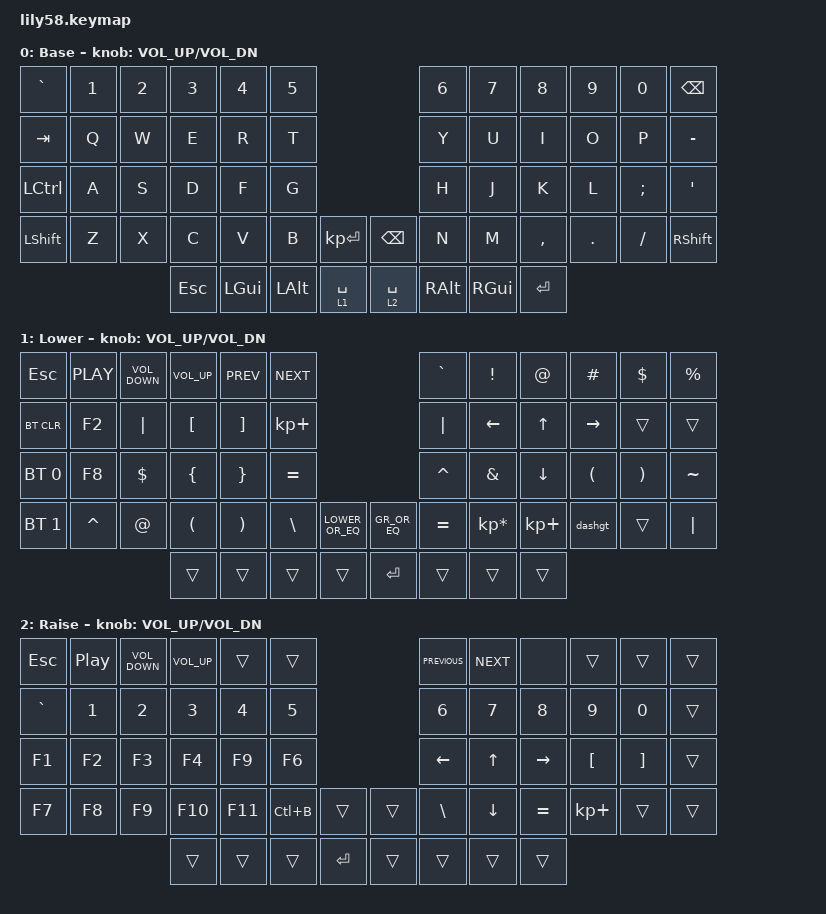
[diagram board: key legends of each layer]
/*
 * Copyright (c) 2020 The ZMK Contributors
 *
 * SPDX-License-Identifier: MIT
 */

#include <behaviors.dtsi>
#include <dt-bindings/zmk/bt.h>
#include <dt-bindings/zmk/keys.h>

/ {
    macros {
        GR_OR_EQ: GR_OR_EQ {
            compatible = "zmk,behavior-macro";
            #binding-cells = <0>;
            bindings = <&kp GREATER_THAN &kp EQUAL>, <&macro_tap>;

            label = "GR_OR_EQ";
        };

        LOWER_OR_EQ: LOWER_OR_EQ {
            compatible = "zmk,behavior-macro";
            #binding-cells = <0>;
            bindings = <&kp LT &kp EQUAL>, <&macro_tap>;

            label = "LOWER_OR_EQ";
        };

        dashgt: dashgt {
            compatible = "zmk,behavior-macro";
            #binding-cells = <0>;
            bindings = <&kp MINUS &kp GT>, <&macro_tap>;

            label = "DASHGT";
        };
    };

    keymap {
        compatible = "zmk,keymap";

        default_layer {
            // ------------------------------------------------------------------------------------------------------------
            // |  ESC  |  1  |  2  |  3   |  4   |  5   |                   |  6   |  7    |  8    |  9   |   0   |   `   |
            // |  TAB  |  Q  |  W  |  E   |  R   |  T   |                   |  Y   |  U    |  I    |  O   |   P   |   -   |
            // |  CTRL |  A  |  S  |  D   |  F   |  G   |                   |  H   |  J    |  K    |  L   |   ;   |   '   |
            // | SHIFT |  Z  |  X  |  C   |  V   |  B   |   "["  |  |  "]"  |  N   |  M    |  ,    |  .   |   /   | SHIFT |
            //                     | ALT  | GUI  | LOWER|  SPACE |  | ENTER | RAISE| BSPC  | GUI   |

            display-name = "Base";
            bindings = <
&kp GRAVE  &kp N1  &kp N2  &kp N3   &kp N4        &kp N5                                       &kp N6         &kp N7         &kp N8     &kp N9   &kp N0    &kp BACKSPACE
&kp TAB    &kp Q   &kp W   &kp E    &kp R         &kp T                                        &kp Y          &kp U          &kp I      &kp O    &kp P     &kp MINUS
&kp LCTRL  &kp A   &kp S   &kp D    &kp F         &kp G                                        &kp H          &kp J          &kp K      &kp L    &kp SEMI  &kp SQT
&kp LSHFT  &kp Z   &kp X   &kp C    &kp V         &kp B         &kp KP_ENTER    &kp BACKSPACE  &kp N          &kp M          &kp COMMA  &kp DOT  &kp FSLH  &kp RIGHT_SHIFT
                           &kp ESC  &kp LEFT_GUI  &kp LEFT_ALT  &lt 1 SPACE     &lt 2 SPACE    &kp RIGHT_ALT  &kp RIGHT_GUI  &kp ENTER
            >;

            sensor-bindings = <&inc_dec_kp C_VOL_UP C_VOL_DN>;
        };

        lower_layer {
            // ------------------------------------------------------------------------------------------------------------
            // | BTCLR | BT1 | BT2 |  BT3 |  BT4 |  BT5 |                   |      |       |       |      |       |       |
            // |  F1   |  F2 |  F3 |  F4  |  F5  |  F6  |                   |  F7  |  F8   |  F9   |  F10 |  F11  |  F12  |
            // |   `   |  !  |  @  |  #   |  $   |  %   |                   |  ^   |  &    |  *    |  (   |   )   |   ~   |
            // |       |     |     |      |      |      |        |  |       |      |  _    |  +    |  {   |   }   |  "|"  |
            //                     |      |      |      |        |  |       |      |       |       |

            display-name = "Lower";
            bindings = <
&kp ESC       &kp C_PLAY  &kp C_VOLUME_DOWN  &kp C_VOLUME_UP       &kp C_PREV             &kp C_NEXT                                &kp GRAVE  &kp EXCL         &kp AT       &kp HASH   &kp DOLLAR  &kp PERCENT
&bt BT_CLR    &kp F2      &kp PIPE           &kp LEFT_BRACKET      &kp RIGHT_BRACKET      &kp KP_PLUS                               &kp PIPE   &kp LEFT         &kp UP       &kp RIGHT  &trans      &trans
&bt BT_SEL 0  &kp F8      &kp DOLLAR         &kp LEFT_BRACE        &kp RIGHT_BRACE        &kp EQUAL                                 &kp CARET  &kp AMPS         &kp DOWN     &kp LPAR   &kp RPAR    &kp TILDE
&bt BT_SEL 1  &kp CARET   &kp AT_SIGN        &kp LEFT_PARENTHESIS  &kp RIGHT_PARENTHESIS  &kp BACKSLASH  &LOWER_OR_EQ    &GR_OR_EQ  &kp EQUAL  &kp KP_MULTIPLY  &kp KP_PLUS  &dashgt    &trans      &kp PIPE
                                             &trans                &trans                 &trans         &trans          &kp ENTER  &trans     &trans           &trans
            >;

            sensor-bindings = <&inc_dec_kp C_VOL_UP C_VOL_DN>;
        };

        raise_layer {
            // ------------------------------------------------------------------------------------------------------------
            // |       |     |     |      |      |      |                   |      |       |       |      |       |       |
            // |   `   |  1  |  2  |  3   |  4   |  5   |                   |  6   |   7   |   8   |  9   |   0   |       |
            // |   F1  |  F2 |  F3 |  F4  |  F5  |  F6  |                   |      |   <-  |   v   |  ^   |  ->   |       |
            // |   F7  |  F8 |  F9 |  F10 |  F11 |  F12 |        |  |       |  +   |   -   |   =   |  [   |   ]   |   \   |
            //                     |      |      |      |        |  |       |      |       |       |

            display-name = "Raise";
            bindings = <
&kp ESCAPE  &kp C_PLAY_PAUSE  &kp C_VOLUME_DOWN  &kp C_VOLUME_UP  &trans   &trans                          &kp C_PREVIOUS  &kp C_NEXT  &none      &trans            &trans             &trans
&kp GRAVE   &kp N1            &kp N2             &kp N3           &kp N4   &kp N5                          &kp N6          &kp N7      &kp N8     &kp N9            &kp N0             &trans
&kp F1      &kp F2            &kp F3             &kp F4           &kp F9   &kp F6                          &kp LEFT        &kp UP      &kp RIGHT  &kp LEFT_BRACKET  &kp RIGHT_BRACKET  &trans
&kp F7      &kp F8            &kp F9             &kp F10          &kp F11  &kp LC(B)  &trans       &trans  &kp BSLH        &kp DOWN    &kp EQUAL  &kp KP_PLUS       &trans             &trans
                                                 &trans           &trans   &trans     &kp ENTER    &trans  &trans          &trans      &trans
            >;

            sensor-bindings = <&inc_dec_kp C_VOL_UP C_VOL_DN>;
        };

        extra_1 { status = "reserved"; };

        extra_2 { status = "reserved"; };

        extra_3 { status = "reserved"; };
    };
};
